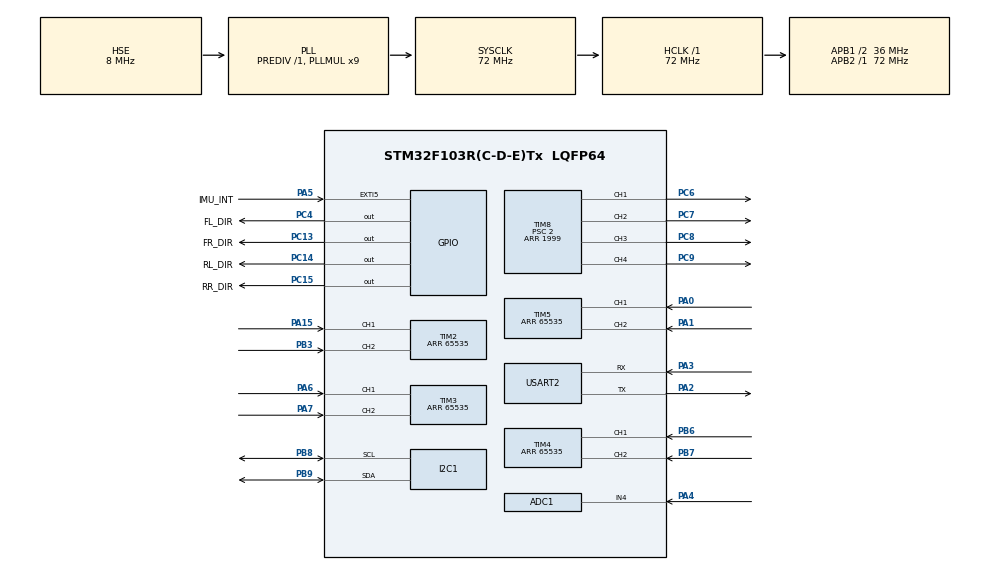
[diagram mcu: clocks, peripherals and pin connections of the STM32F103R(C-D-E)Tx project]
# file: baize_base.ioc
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ADC1.Channel-0\#ChannelInjectedConversion=ADC_CHANNEL_VREFINT
ADC1.Channel-0\#ChannelRegularConversion=ADC_CHANNEL_4
ADC1.EnableInjectedConversion=ENABLE
ADC1.InjNumberOfConversion=1
ADC1.InjectedConvMode=AutoInjected
ADC1.InjectedRank-0\#ChannelInjectedConversion=1
ADC1.NbrOfConversionFlag=1
ADC1.Rank-0\#ChannelRegularConversion=1
ADC1.SamplingTime-0\#ChannelInjectedConversion=ADC_SAMPLETIME_239CYCLES_5
ADC1.SamplingTime-0\#ChannelRegularConversion=ADC_SAMPLETIME_71CYCLES_5
ADC1.master=1
IWDG.Prescaler=IWDG_PRESCALER_16
IWDG.Reload=199
Mcu.Family=STM32F1
Mcu.Name=STM32F103R(C-D-E)Tx
Mcu.Package=LQFP64
NVIC.EXTI9_5_IRQn=true\:3\:0\:false\:false\:true\:true\:true\:true
NVIC.I2C1_ER_IRQn=true\:3\:0\:false\:false\:true\:true\:true\:true
NVIC.I2C1_EV_IRQn=true\:3\:0\:false\:false\:true\:true\:true\:true
NVIC.PriorityGroup=NVIC_PRIORITYGROUP_4
NVIC.USART2_IRQn=true\:2\:0\:false\:false\:true\:true\:true\:true
PA0-WKUP.Signal=S_TIM5_CH1
PA1.Signal=S_TIM5_CH2
PA13.Mode=Serial_Wire
PA13.Signal=SYS_JTMS-SWDIO
PA14.Mode=Serial_Wire
PA14.Signal=SYS_JTCK-SWCLK
PA15.Signal=S_TIM2_CH1_ETR
PA2.Mode=Asynchronous
PA2.Signal=USART2_TX
PA3.Mode=Asynchronous
PA3.Signal=USART2_RX
PA4.Signal=ADCx_IN4
PA5.GPIO_Label=IMU_INT
PA5.GPIO_PuPd=GPIO_PULLDOWN
PA5.Signal=GPXTI5
PA6.Signal=S_TIM3_CH1
PA7.Signal=S_TIM3_CH2
PB3.Signal=S_TIM2_CH2
PB6.Signal=S_TIM4_CH1
PB7.Signal=S_TIM4_CH2
PB8.Mode=I2C
PB8.Signal=I2C1_SCL
PB9.Mode=I2C
PB9.Signal=I2C1_SDA
PC13-TAMPER-RTC.GPIO_Label=FR_DIR
PC13-TAMPER-RTC.Signal=GPIO_Output
PC14-OSC32_IN.GPIO_Label=RL_DIR
PC14-OSC32_IN.Signal=GPIO_Output
PC15-OSC32_OUT.GPIO_Label=RR_DIR
PC15-OSC32_OUT.Signal=GPIO_Output
PC4.GPIO_Label=FL_DIR
PC4.Signal=GPIO_Output
PC6.Signal=S_TIM8_CH1
PC7.Signal=S_TIM8_CH2
PC8.Signal=S_TIM8_CH3
PC9.Signal=S_TIM8_CH4
PD0-OSC_IN.Mode=HSE-External-Oscillator
PD0-OSC_IN.Signal=RCC_OSC_IN
PD1-OSC_OUT.Mode=HSE-External-Oscillator
PD1-OSC_OUT.Signal=RCC_OSC_OUT
ProjectManager.HeapSize=0x200
ProjectManager.StackSize=0x400
ProjectManager.TargetToolchain=CMake
RCC.ADCPresc=RCC_ADCPCLK2_DIV6
RCC.AHBFreq_Value=72000000
RCC.APB1CLKDivider=RCC_HCLK_DIV2
RCC.APB1Freq_Value=36000000
RCC.APB1TimFreq_Value=72000000
RCC.APB2Freq_Value=72000000
RCC.APB2TimFreq_Value=72000000
RCC.HCLKFreq_Value=72000000
RCC.PLLMUL=RCC_PLL_MUL9
RCC.PLLSourceVirtual=RCC_PLLSOURCE_HSE
RCC.SYSCLKFreq_VALUE=72000000
RCC.SYSCLKSource=RCC_SYSCLKSOURCE_PLLCLK
RCC.USBFreq_Value=72000000
SH.ADCx_IN4.0=ADC1_IN4,IN4
SH.S_TIM2_CH1_ETR.0=TIM2_CH1,Encoder_Interface
SH.S_TIM2_CH2.0=TIM2_CH2,Encoder_Interface
SH.S_TIM3_CH1.0=TIM3_CH1,Encoder_Interface
SH.S_TIM3_CH2.0=TIM3_CH2,Encoder_Interface
SH.S_TIM4_CH1.0=TIM4_CH1,Encoder_Interface
SH.S_TIM4_CH2.0=TIM4_CH2,Encoder_Interface
SH.S_TIM5_CH1.0=TIM5_CH1,Encoder_Interface
SH.S_TIM5_CH2.0=TIM5_CH2,Encoder_Interface
SH.S_TIM8_CH1.0=TIM8_CH1,PWM Generation1 CH1
SH.S_TIM8_CH2.0=TIM8_CH2,PWM Generation2 CH2
SH.S_TIM8_CH3.0=TIM8_CH3,PWM Generation3 CH3
SH.S_TIM8_CH4.0=TIM8_CH4,PWM Generation4 CH4
TIM2.EncoderMode=TIM_ENCODERMODE_TI12
TIM2.IC1Filter=15
TIM2.IC2Filter=15
TIM2.Period=65535
TIM3.EncoderMode=TIM_ENCODERMODE_TI12
TIM3.IC1Filter=15
TIM3.IC2Filter=15
TIM3.Period=65535
TIM4.EncoderMode=TIM_ENCODERMODE_TI12
TIM4.IC1Filter=15
TIM4.IC2Filter=15
TIM4.Period=65535
TIM5.EncoderMode=TIM_ENCODERMODE_TI12
TIM5.IC1Filter=15
TIM5.IC2Filter=15
TIM5.Period=65535
TIM8.Channel-PWM\ Generation1\ CH1=TIM_CHANNEL_1
TIM8.Channel-PWM\ Generation2\ CH2=TIM_CHANNEL_2
TIM8.Channel-PWM\ Generation3\ CH3=TIM_CHANNEL_3
TIM8.Channel-PWM\ Generation4\ CH4=TIM_CHANNEL_4
TIM8.Period=1999
TIM8.Prescaler=2
TIM8.Pulse-PWM\ Generation1\ CH1=2000
TIM8.Pulse-PWM\ Generation2\ CH2=2000
TIM8.Pulse-PWM\ Generation3\ CH3=2000
TIM8.Pulse-PWM\ Generation4\ CH4=2000
USART2.VirtualMode=VM_ASYNC
USART2.VirtualMode-Asynchronous=VM_ASYNC
VP_ADC1_Vref_Input.Mode=IN-Vrefint
VP_IWDG_VS_IWDG.Mode=IWDG_Activate
board=custom

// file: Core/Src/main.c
/* USER CODE BEGIN Header */
/**
  ******************************************************************************
  * @file           : main.c
  * @brief          : Main program body
  ******************************************************************************
  * @attention
  *
  * Copyright (c) 2026 STMicroelectronics.
  * All rights reserved.
  *
  * This software is licensed under terms that can be found in the LICENSE file
  * in the root directory of this software component.
  * If no LICENSE file comes with this software, it is provided AS-IS.
  *
  ******************************************************************************
  */
/* USER CODE END Header */
#include "main.h"

/* USER CODE BEGIN Includes */
#include "encoders.h"
#include "base_feedback.h"
#include "base_motion.h"
/* USER CODE END Includes */

ADC_HandleTypeDef hadc1;

I2C_HandleTypeDef hi2c1;

IWDG_HandleTypeDef hiwdg;

TIM_HandleTypeDef htim2;
TIM_HandleTypeDef htim3;
TIM_HandleTypeDef htim4;
TIM_HandleTypeDef htim5;
TIM_HandleTypeDef htim8;

UART_HandleTypeDef huart2;

/* USER CODE BEGIN PV */
/* Front left, front right, rear left, rear right, in protocol order. */
static TIM_HandleTypeDef *const encoder_timers[BAIZE_WHEELS] = { &htim4, &htim2, &htim5, &htim3 };
static Encoders encoders;
/* USER CODE END PV */

void SystemClock_Config(void);
static void MX_GPIO_Init(void);
static void MX_ADC1_Init(void);
static void MX_I2C1_Init(void);
static void MX_TIM2_Init(void);
static void MX_TIM3_Init(void);
static void MX_TIM4_Init(void);
static void MX_TIM5_Init(void);
static void MX_USART2_UART_Init(void);
static void MX_TIM8_Init(void);
static void MX_IWDG_Init(void);

/* USER CODE BEGIN 0 */
static void read_encoder_counters(uint16_t counter[BAIZE_WHEELS])
{
  for (size_t i = 0; i < BAIZE_WHEELS; ++i)
  {
    counter[i] = (uint16_t)__HAL_TIM_GET_COUNTER(encoder_timers[i]);
  }
}
/* USER CODE END 0 */

int main(void)
{

  /* USER CODE BEGIN 1 */
  extern const uint32_t g_pfnVectors[];
  SCB->VTOR = (uint32_t)g_pfnVectors;
  __DSB();
  __ISB();
  SystemCoreClockUpdate();
  __set_BASEPRI(0);
  __enable_irq();
  /* USER CODE END 1 */

  /* MCU Configuration--------------------------------------------------------*/

  /* Reset of all peripherals, Initializes the Flash interface and the Systick. */
  HAL_Init();

  /* Configure the system clock */
  SystemClock_Config();

  /* Initialize all configured peripherals */
  MX_GPIO_Init();
  MX_ADC1_Init();
  MX_I2C1_Init();
  MX_TIM2_Init();
  MX_TIM3_Init();
  MX_TIM4_Init();
  MX_TIM5_Init();
  MX_USART2_UART_Init();
  MX_TIM8_Init();
  MX_IWDG_Init();
  /* USER CODE BEGIN 2 */
  base_feedback_start();
  for (size_t i = 0; i < BAIZE_WHEELS; ++i)
  {
    if (HAL_TIM_Encoder_Start(encoder_timers[i], TIM_CHANNEL_ALL) != HAL_OK)
    {
      Error_Handler();
    }
  }
  read_encoder_counters(encoders.counter);
  encoders.sample_ms = HAL_GetTick();
  encoders.velocity_ms = encoders.sample_ms;
  uint32_t last_status_ms = encoders.sample_ms;
  /* USER CODE END 2 */

  /* Infinite loop */
  while (1)
  {

    /* USER CODE BEGIN 3 */
    uint32_t now_ms = HAL_GetTick();
    if (now_ms != encoders.sample_ms)
    {
      uint16_t counter[BAIZE_WHEELS];
      read_encoder_counters(counter);
      uint32_t elapsed_ms = now_ms - encoders.velocity_ms;
      if (encoders_sample(&encoders, counter, now_ms))
      {
        uint8_t state, reason;
        base_motion_update(&encoders, elapsed_ms, &state, &reason);
        /* Refresh only after sampling the encoders and applying this wheel-control update. */
        HAL_IWDG_Refresh(&hiwdg);
        if (now_ms - last_status_ms >= 20u)
        {
          last_status_ms = now_ms;
          base_feedback_queue_status(&encoders, state, reason);
        }
      }
      base_feedback_poll(now_ms);
    }
  }
  /* USER CODE END 3 */
}

void SystemClock_Config(void)
{
  RCC_OscInitTypeDef RCC_OscInitStruct = {0};
  RCC_ClkInitTypeDef RCC_ClkInitStruct = {0};
  RCC_PeriphCLKInitTypeDef PeriphClkInit = {0};

  /** Initializes the RCC Oscillators according to the specified parameters
  * in the RCC_OscInitTypeDef structure.
  */
  RCC_OscInitStruct.OscillatorType = RCC_OSCILLATORTYPE_LSI|RCC_OSCILLATORTYPE_HSE;
  RCC_OscInitStruct.HSEState = RCC_HSE_ON;
  RCC_OscInitStruct.HSEPredivValue = RCC_HSE_PREDIV_DIV1;
  RCC_OscInitStruct.HSIState = RCC_HSI_ON;
  RCC_OscInitStruct.LSIState = RCC_LSI_ON;
  RCC_OscInitStruct.PLL.PLLState = RCC_PLL_ON;
  RCC_OscInitStruct.PLL.PLLSource = RCC_PLLSOURCE_HSE;
  RCC_OscInitStruct.PLL.PLLMUL = RCC_PLL_MUL9;
  if (HAL_RCC_OscConfig(&RCC_OscInitStruct) != HAL_OK)
  {
    Error_Handler();
  }

  /** Initializes the CPU, AHB and APB buses clocks
  */
  RCC_ClkInitStruct.ClockType = RCC_CLOCKTYPE_HCLK|RCC_CLOCKTYPE_SYSCLK
                              |RCC_CLOCKTYPE_PCLK1|RCC_CLOCKTYPE_PCLK2;
  RCC_ClkInitStruct.SYSCLKSource = RCC_SYSCLKSOURCE_PLLCLK;
  RCC_ClkInitStruct.AHBCLKDivider = RCC_SYSCLK_DIV1;
  RCC_ClkInitStruct.APB1CLKDivider = RCC_HCLK_DIV2;
  RCC_ClkInitStruct.APB2CLKDivider = RCC_HCLK_DIV1;

  if (HAL_RCC_ClockConfig(&RCC_ClkInitStruct, FLASH_LATENCY_2) != HAL_OK)
  {
    Error_Handler();
  }
  PeriphClkInit.PeriphClockSelection = RCC_PERIPHCLK_ADC;
  PeriphClkInit.AdcClockSelection = RCC_ADCPCLK2_DIV6;
  if (HAL_RCCEx_PeriphCLKConfig(&PeriphClkInit) != HAL_OK)
  {
    Error_Handler();
  }
}

static void MX_ADC1_Init(void)
{

  ADC_ChannelConfTypeDef sConfig = {0};
  ADC_InjectionConfTypeDef sConfigInjected = {0};

  /** Common config
  */
  hadc1.Instance = ADC1;
  hadc1.Init.ScanConvMode = ADC_SCAN_DISABLE;
  hadc1.Init.ContinuousConvMode = DISABLE;
  hadc1.Init.DiscontinuousConvMode = DISABLE;
  hadc1.Init.ExternalTrigConv = ADC_SOFTWARE_START;
  hadc1.Init.DataAlign = ADC_DATAALIGN_RIGHT;
  hadc1.Init.NbrOfConversion = 1;
  if (HAL_ADC_Init(&hadc1) != HAL_OK)
  {
    Error_Handler();
  }

  /** Configure Regular Channel
  */
  sConfig.Channel = ADC_CHANNEL_4;
  sConfig.Rank = ADC_REGULAR_RANK_1;
  sConfig.SamplingTime = ADC_SAMPLETIME_71CYCLES_5;
  if (HAL_ADC_ConfigChannel(&hadc1, &sConfig) != HAL_OK)
  {
    Error_Handler();
  }

  /** Configure Injected Channel
  */
  sConfigInjected.InjectedChannel = ADC_CHANNEL_VREFINT;
  sConfigInjected.InjectedRank = ADC_INJECTED_RANK_1;
  sConfigInjected.InjectedNbrOfConversion = 1;
  sConfigInjected.InjectedSamplingTime = ADC_SAMPLETIME_239CYCLES_5;
  sConfigInjected.ExternalTrigInjecConv = ADC_INJECTED_SOFTWARE_START;
  sConfigInjected.AutoInjectedConv = ENABLE;
  sConfigInjected.InjectedDiscontinuousConvMode = DISABLE;
  sConfigInjected.InjectedOffset = 0;
  if (HAL_ADCEx_InjectedConfigChannel(&hadc1, &sConfigInjected) != HAL_OK)
  {
    Error_Handler();
  }

}

static void MX_I2C1_Init(void)
{

  hi2c1.Instance = I2C1;
  hi2c1.Init.ClockSpeed = 100000;
  hi2c1.Init.DutyCycle = I2C_DUTYCYCLE_2;
  hi2c1.Init.OwnAddress1 = 0;
  hi2c1.Init.AddressingMode = I2C_ADDRESSINGMODE_7BIT;
  hi2c1.Init.DualAddressMode = I2C_DUALADDRESS_DISABLE;
  hi2c1.Init.OwnAddress2 = 0;
  hi2c1.Init.GeneralCallMode = I2C_GENERALCALL_DISABLE;
  hi2c1.Init.NoStretchMode = I2C_NOSTRETCH_DISABLE;
  if (HAL_I2C_Init(&hi2c1) != HAL_OK)
  {
    Error_Handler();
  }

}

static void MX_IWDG_Init(void)
{

  hiwdg.Instance = IWDG;
  hiwdg.Init.Prescaler = IWDG_PRESCALER_16;
  hiwdg.Init.Reload = 199;
  if (HAL_IWDG_Init(&hiwdg) != HAL_OK)
  {
    Error_Handler();
  }

}

static void MX_TIM2_Init(void)
{

  TIM_Encoder_InitTypeDef sConfig = {0};
  TIM_MasterConfigTypeDef sMasterConfig = {0};

  htim2.Instance = TIM2;
  htim2.Init.Prescaler = 0;
  htim2.Init.CounterMode = TIM_COUNTERMODE_UP;
  htim2.Init.Period = 65535;
  htim2.Init.ClockDivision = TIM_CLOCKDIVISION_DIV1;
  htim2.Init.AutoReloadPreload = TIM_AUTORELOAD_PRELOAD_DISABLE;
  sConfig.EncoderMode = TIM_ENCODERMODE_TI12;
  sConfig.IC1Polarity = TIM_ICPOLARITY_RISING;
  sConfig.IC1Selection = TIM_ICSELECTION_DIRECTTI;
  sConfig.IC1Prescaler = TIM_ICPSC_DIV1;
  sConfig.IC1Filter = 15;
  sConfig.IC2Polarity = TIM_ICPOLARITY_RISING;
  sConfig.IC2Selection = TIM_ICSELECTION_DIRECTTI;
  sConfig.IC2Prescaler = TIM_ICPSC_DIV1;
  sConfig.IC2Filter = 15;
  if (HAL_TIM_Encoder_Init(&htim2, &sConfig) != HAL_OK)
  {
    Error_Handler();
  }
  sMasterConfig.MasterOutputTrigger = TIM_TRGO_RESET;
  sMasterConfig.MasterSlaveMode = TIM_MASTERSLAVEMODE_DISABLE;
  if (HAL_TIMEx_MasterConfigSynchronization(&htim2, &sMasterConfig) != HAL_OK)
  {
    Error_Handler();
  }

}

static void MX_TIM3_Init(void)
{

  TIM_Encoder_InitTypeDef sConfig = {0};
  TIM_MasterConfigTypeDef sMasterConfig = {0};

  htim3.Instance = TIM3;
  htim3.Init.Prescaler = 0;
  htim3.Init.CounterMode = TIM_COUNTERMODE_UP;
  htim3.Init.Period = 65535;
  htim3.Init.ClockDivision = TIM_CLOCKDIVISION_DIV1;
  htim3.Init.AutoReloadPreload = TIM_AUTORELOAD_PRELOAD_DISABLE;
  sConfig.EncoderMode = TIM_ENCODERMODE_TI12;
  sConfig.IC1Polarity = TIM_ICPOLARITY_RISING;
  sConfig.IC1Selection = TIM_ICSELECTION_DIRECTTI;
  sConfig.IC1Prescaler = TIM_ICPSC_DIV1;
  sConfig.IC1Filter = 15;
  sConfig.IC2Polarity = TIM_ICPOLARITY_RISING;
  sConfig.IC2Selection = TIM_ICSELECTION_DIRECTTI;
  sConfig.IC2Prescaler = TIM_ICPSC_DIV1;
  sConfig.IC2Filter = 15;
  if (HAL_TIM_Encoder_Init(&htim3, &sConfig) != HAL_OK)
  {
    Error_Handler();
  }
  sMasterConfig.MasterOutputTrigger = TIM_TRGO_RESET;
  sMasterConfig.MasterSlaveMode = TIM_MASTERSLAVEMODE_DISABLE;
  if (HAL_TIMEx_MasterConfigSynchronization(&htim3, &sMasterConfig) != HAL_OK)
  {
    Error_Handler();
  }

}

static void MX_TIM4_Init(void)
{

  TIM_Encoder_InitTypeDef sConfig = {0};
  TIM_MasterConfigTypeDef sMasterConfig = {0};

  htim4.Instance = TIM4;
  htim4.Init.Prescaler = 0;
  htim4.Init.CounterMode = TIM_COUNTERMODE_UP;
  htim4.Init.Period = 65535;
  htim4.Init.ClockDivision = TIM_CLOCKDIVISION_DIV1;
  htim4.Init.AutoReloadPreload = TIM_AUTORELOAD_PRELOAD_DISABLE;
  sConfig.EncoderMode = TIM_ENCODERMODE_TI12;
  sConfig.IC1Polarity = TIM_ICPOLARITY_RISING;
  sConfig.IC1Selection = TIM_ICSELECTION_DIRECTTI;
  sConfig.IC1Prescaler = TIM_ICPSC_DIV1;
  sConfig.IC1Filter = 15;
  sConfig.IC2Polarity = TIM_ICPOLARITY_RISING;
  sConfig.IC2Selection = TIM_ICSELECTION_DIRECTTI;
  sConfig.IC2Prescaler = TIM_ICPSC_DIV1;
  sConfig.IC2Filter = 15;
  if (HAL_TIM_Encoder_Init(&htim4, &sConfig) != HAL_OK)
  {
    Error_Handler();
  }
  sMasterConfig.MasterOutputTrigger = TIM_TRGO_RESET;
  sMasterConfig.MasterSlaveMode = TIM_MASTERSLAVEMODE_DISABLE;
  if (HAL_TIMEx_MasterConfigSynchronization(&htim4, &sMasterConfig) != HAL_OK)
  {
    Error_Handler();
  }

}

static void MX_TIM5_Init(void)
{

  TIM_Encoder_InitTypeDef sConfig = {0};
  TIM_MasterConfigTypeDef sMasterConfig = {0};

  htim5.Instance = TIM5;
  htim5.Init.Prescaler = 0;
  htim5.Init.CounterMode = TIM_COUNTERMODE_UP;
  htim5.Init.Period = 65535;
  htim5.Init.ClockDivision = TIM_CLOCKDIVISION_DIV1;
  htim5.Init.AutoReloadPreload = TIM_AUTORELOAD_PRELOAD_DISABLE;
  sConfig.EncoderMode = TIM_ENCODERMODE_TI12;
  sConfig.IC1Polarity = TIM_ICPOLARITY_RISING;
  sConfig.IC1Selection = TIM_ICSELECTION_DIRECTTI;
  sConfig.IC1Prescaler = TIM_ICPSC_DIV1;
  sConfig.IC1Filter = 15;
  sConfig.IC2Polarity = TIM_ICPOLARITY_RISING;
  sConfig.IC2Selection = TIM_ICSELECTION_DIRECTTI;
  sConfig.IC2Prescaler = TIM_ICPSC_DIV1;
  sConfig.IC2Filter = 15;
  if (HAL_TIM_Encoder_Init(&htim5, &sConfig) != HAL_OK)
  {
    Error_Handler();
  }
  sMasterConfig.MasterOutputTrigger = TIM_TRGO_RESET;
  sMasterConfig.MasterSlaveMode = TIM_MASTERSLAVEMODE_DISABLE;
  if (HAL_TIMEx_MasterConfigSynchronization(&htim5, &sMasterConfig) != HAL_OK)
  {
    Error_Handler();
  }

}

static void MX_TIM8_Init(void)
{

  TIM_MasterConfigTypeDef sMasterConfig = {0};
  TIM_OC_InitTypeDef sConfigOC = {0};
  TIM_BreakDeadTimeConfigTypeDef sBreakDeadTimeConfig = {0};

  htim8.Instance = TIM8;
  htim8.Init.Prescaler = 2;
  htim8.Init.CounterMode = TIM_COUNTERMODE_UP;
  htim8.Init.Period = 1999;
  htim8.Init.ClockDivision = TIM_CLOCKDIVISION_DIV1;
  htim8.Init.RepetitionCounter = 0;
  htim8.Init.AutoReloadPreload = TIM_AUTORELOAD_PRELOAD_DISABLE;
  if (HAL_TIM_PWM_Init(&htim8) != HAL_OK)
  {
    Error_Handler();
  }
  sMasterConfig.MasterOutputTrigger = TIM_TRGO_RESET;
  sMasterConfig.MasterSlaveMode = TIM_MASTERSLAVEMODE_DISABLE;
  if (HAL_TIMEx_MasterConfigSynchronization(&htim8, &sMasterConfig) != HAL_OK)
  {
    Error_Handler();
  }
  sConfigOC.OCMode = TIM_OCMODE_PWM1;
  sConfigOC.Pulse = 2000;
  sConfigOC.OCPolarity = TIM_OCPOLARITY_HIGH;
  sConfigOC.OCNPolarity = TIM_OCNPOLARITY_HIGH;
  sConfigOC.OCFastMode = TIM_OCFAST_DISABLE;
  sConfigOC.OCIdleState = TIM_OCIDLESTATE_RESET;
  sConfigOC.OCNIdleState = TIM_OCNIDLESTATE_RESET;
  if (HAL_TIM_PWM_ConfigChannel(&htim8, &sConfigOC, TIM_CHANNEL_1) != HAL_OK)
  {
    Error_Handler();
  }
  if (HAL_TIM_PWM_ConfigChannel(&htim8, &sConfigOC, TIM_CHANNEL_2) != HAL_OK)
  {
    Error_Handler();
  }
  if (HAL_TIM_PWM_ConfigChannel(&htim8, &sConfigOC, TIM_CHANNEL_3) != HAL_OK)
  {
    Error_Handler();
  }
  if (HAL_TIM_PWM_ConfigChannel(&htim8, &sConfigOC, TIM_CHANNEL_4) != HAL_OK)
  {
    Error_Handler();
  }
  sBreakDeadTimeConfig.OffStateRunMode = TIM_OSSR_DISABLE;
  sBreakDeadTimeConfig.OffStateIDLEMode = TIM_OSSI_DISABLE;
  sBreakDeadTimeConfig.LockLevel = TIM_LOCKLEVEL_OFF;
  sBreakDeadTimeConfig.DeadTime = 0;
  sBreakDeadTimeConfig.BreakState = TIM_BREAK_DISABLE;
  sBreakDeadTimeConfig.BreakPolarity = TIM_BREAKPOLARITY_HIGH;
  sBreakDeadTimeConfig.AutomaticOutput = TIM_AUTOMATICOUTPUT_DISABLE;
  if (HAL_TIMEx_ConfigBreakDeadTime(&htim8, &sBreakDeadTimeConfig) != HAL_OK)
  {
    Error_Handler();
  }
  /* USER CODE BEGIN TIM8_Init 2 */
  base_motion_start();
  /* USER CODE END TIM8_Init 2 */
  HAL_TIM_MspPostInit(&htim8);

}

static void MX_USART2_UART_Init(void)
{

  huart2.Instance = USART2;
  huart2.Init.BaudRate = 115200;
  huart2.Init.WordLength = UART_WORDLENGTH_8B;
  huart2.Init.StopBits = UART_STOPBITS_1;
  huart2.Init.Parity = UART_PARITY_NONE;
  huart2.Init.Mode = UART_MODE_TX_RX;
  huart2.Init.HwFlowCtl = UART_HWCONTROL_NONE;
  huart2.Init.OverSampling = UART_OVERSAMPLING_16;
  if (HAL_UART_Init(&huart2) != HAL_OK)
  {
    Error_Handler();
  }

}

static void MX_GPIO_Init(void)
{
  GPIO_InitTypeDef GPIO_InitStruct = {0};

  /* GPIO Ports Clock Enable */
  __HAL_RCC_GPIOC_CLK_ENABLE();
  __HAL_RCC_GPIOD_CLK_ENABLE();
  __HAL_RCC_GPIOA_CLK_ENABLE();
  __HAL_RCC_GPIOB_CLK_ENABLE();

  /*Configure GPIO pin Output Level */
  HAL_GPIO_WritePin(GPIOC, FR_DIR_Pin|RL_DIR_Pin|RR_DIR_Pin|FL_DIR_Pin, GPIO_PIN_RESET);

  /*Configure GPIO pins : FR_DIR_Pin RL_DIR_Pin RR_DIR_Pin FL_DIR_Pin */
  GPIO_InitStruct.Pin = FR_DIR_Pin|RL_DIR_Pin|RR_DIR_Pin|FL_DIR_Pin;
  GPIO_InitStruct.Mode = GPIO_MODE_OUTPUT_PP;
  GPIO_InitStruct.Pull = GPIO_NOPULL;
  GPIO_InitStruct.Speed = GPIO_SPEED_FREQ_LOW;
  HAL_GPIO_Init(GPIOC, &GPIO_InitStruct);

  /*Configure GPIO pin : IMU_INT_Pin */
  GPIO_InitStruct.Pin = IMU_INT_Pin;
  GPIO_InitStruct.Mode = GPIO_MODE_IT_RISING;
  GPIO_InitStruct.Pull = GPIO_PULLDOWN;
  HAL_GPIO_Init(IMU_INT_GPIO_Port, &GPIO_InitStruct);

  /* EXTI interrupt init*/
  HAL_NVIC_SetPriority(IMU_INT_EXTI_IRQn, 3, 0);
  HAL_NVIC_EnableIRQ(IMU_INT_EXTI_IRQn);

}

void Error_Handler(void)
{
  __disable_irq();
  while (1)
  {
  }
}
